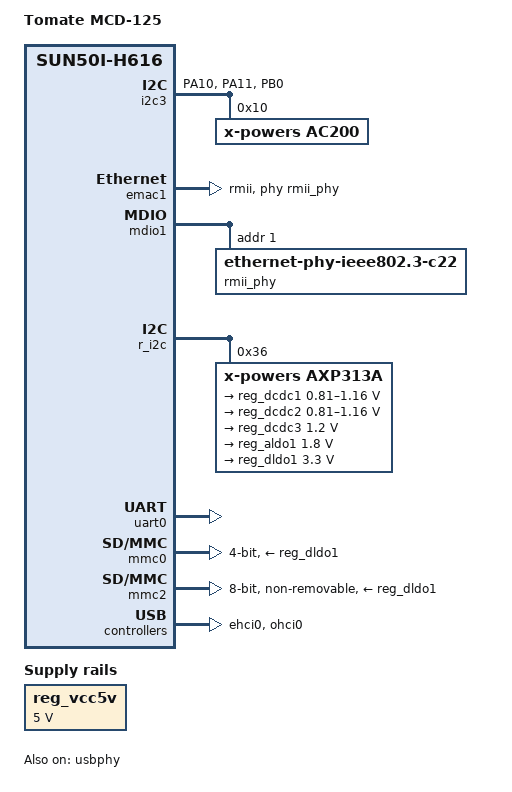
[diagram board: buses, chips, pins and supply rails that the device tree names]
// SPDX-License-Identifier: (GPL-2.0+ or MIT)
/*
 * Device tree ajustado para Tomate MCD-125 TV Box
 * SoC:     Allwinner H313 (sun50iw9p1)
 * PHY:     AC200/AC300 Interno via GMAC1 (emac1)
 */

/dts-v1/;

#include "sun50i-h616.dtsi"
#include "sun50i-h313-cpu-opp.dtsi"
#include <dt-bindings/gpio/gpio.h>
#include <dt-bindings/interrupt-controller/arm-gic.h>
#include <dt-bindings/leds/common.h>

/ {
	model = "Tomate MCD-125";
	compatible = "tomate,mcd-125", "allwinner,sun50i-h616";
	armbian-patch-id = "MCD125-DTS-v19-final-adjust";

	aliases {
		mmc0 = &mmc0;
		mmc1 = &mmc1;
		mmc2 = &mmc2;
		ethernet0 = &emac1;
		serial0 = &uart0;
	};

	chosen {
		stdout-path = "serial0:115200n8";
	};

	reg_vcc5v: vcc5v {
		compatible = "regulator-fixed";
		regulator-name = "vcc-5v";
		regulator-min-microvolt = <5000000>;
		regulator-max-microvolt = <5000000>;
		regulator-always-on;
	};

	/* Clock de referência necessário para o driver do AC200 */
	ac200_clk: ac200-clk {
		compatible = "fixed-clock";
		#clock-cells = <0>;
		clock-frequency = <24000000>;
		clock-output-names = "ac200-clk";
	};
};

&pio {
	/* Pinos I2C3 extraídos do Android DTS: PA10 e PA11 */
	i2c3_pa_pins: i2c3-pa-pins {
		pins = "PA10", "PA11";
		function = "i2c3";
		bias-pull-up;
	};

	/* Pino de saída de clock para a PHY AC200 no PB0 */
	ac200_clk_pin: ac200-clk-pin {
		pins = "PB0";
		function = "ac200";
		drive-strength = <20>;
	};
};

&i2c3 {
	status = "okay";
	pinctrl-names = "default";
	/* Vincula os pinos de dados e o pino de clock ao barramento */
	pinctrl-0 = <&i2c3_pa_pins>, <&ac200_clk_pin>;

	ac200: mfd@10 {
		compatible = "x-powers,ac200";
		reg = <0x10>;
		clocks = <&ac200_clk>;

		ac200_ephy_ctl: syscon {
			compatible = "x-powers,ac200-ephy-ctl";
			#clock-cells = <0>;
			#reset-cells = <0>;
			status = "okay";
		};
	};
};

&emac1 {
	compatible = "allwinner,sun50i-h616-emac";
	syscon = <&syscon 1>; /* 0x03000034 */
	phy-mode = "rmii";
	phy-handle = <&rmii_phy>;
	
	/* Valores exatos do seu hardware Android */
	allwinner,rx-delay-ps = <3100>;
	allwinner,tx-delay-ps = <700>;
	
	status = "okay";
};

&mdio1 {
	rmii_phy: ethernet-phy@1 {
		compatible = "ethernet-phy-ieee802.3-c22";
		reg = <1>; /* Endereço 1 conforme seu dump Android */
		clocks = <&ac200_ephy_ctl>;
		resets = <&ac200_ephy_ctl>;
	};
};

&r_i2c {
	status = "okay";

	axp313a: pmic@36 {
		compatible = "x-powers,axp313a";
		reg = <0x36>;
		
		regulators {
			reg_dcdc1: dcdc1 {
				regulator-always-on;
				regulator-min-microvolt = <810000>;
				regulator-max-microvolt = <1160000>;
				regulator-name = "vdd-gpu";
			};

			reg_dcdc2: dcdc2 {
				regulator-always-on;
				regulator-min-microvolt = <810000>;
				regulator-max-microvolt = <1160000>;
				regulator-name = "vdd-cpu";
			};

			reg_dcdc3: dcdc3 {
				regulator-always-on;
				regulator-min-microvolt = <1200000>;
				regulator-max-microvolt = <1200000>;
				regulator-name = "vdd-dram";
			};

			reg_aldo1: aldo1 {
				regulator-always-on;
				regulator-min-microvolt = <1800000>;
				regulator-max-microvolt = <1800000>;
				regulator-name = "vcc1v8";
			};

			reg_dldo1: dldo1 {
				regulator-always-on;
				regulator-min-microvolt = <3300000>;
				regulator-max-microvolt = <3300000>;
				regulator-name = "vcc3v3";
			};
		};
	};
};

/* Restante das configurações (USB, UART, MMC) permanecem conforme seu original */
&uart0 {
	pinctrl-names = "default";
	pinctrl-0 = <&uart0_ph_pins>;
	status = "okay";
};

&mmc0 {
	vmmc-supply = <&reg_dldo1>;
	broken-cd;
	bus-width = <4>;
	status = "okay";
};

&mmc2 {
	vmmc-supply = <&reg_dldo1>;
	bus-width = <8>;
	non-removable;
	cap-mmc-hw-reset;
	status = "okay";
};

&usbphy {
	status = "okay";
};

&ehci0 { status = "okay"; };
&ohci0 { status = "okay"; };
